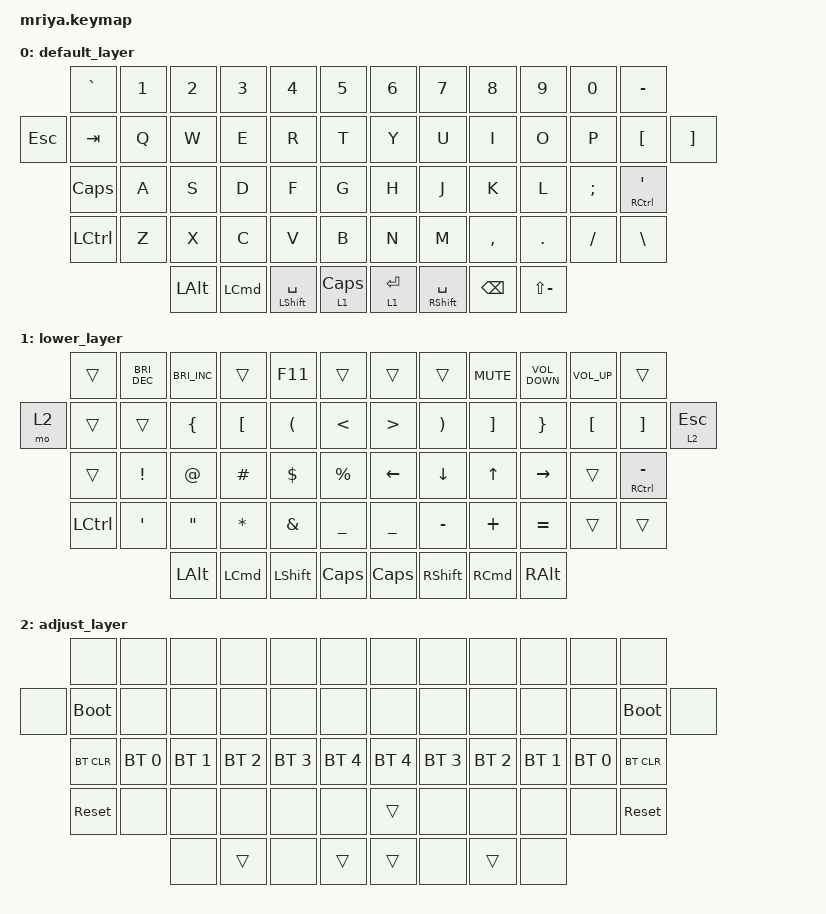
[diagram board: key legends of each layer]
/*
 * Copyright (c) 2023 Andrei Gaevskii
 *
 * SPDX-License-Identifier: MIT
 */

#include <behaviors.dtsi>
#include <dt-bindings/zmk/bt.h>
#include <dt-bindings/zmk/keys.h>

#define DEF 0
#define LWR 1
#define RSE 2
#define ADJ 3

&lt { quick_tap_ms = <200>; };

&mt { quick_tap_ms = <200>; };

/ {
    keymap {
        compatible = "zmk,keymap";

        default_layer {
            bindings = <
            &kp GRAVE         &kp N1  &kp N2        &kp N3            &kp N4           &kp N5            &kp N6       &kp N7           &kp N8         &kp N9         &kp N0    &kp MINUS
&kp ESCAPE  &kp TAB           &kp Q   &kp W         &kp E             &kp R            &kp T             &kp Y        &kp U            &kp I          &kp O          &kp P     &kp LBKT       &kp RIGHT_BRACKET
            &kp CAPSLOCK      &kp A   &kp S         &kp D             &kp F            &kp G             &kp H        &kp J            &kp K          &kp L          &kp SEMI  &mt RCTRL SQT
            &kp LEFT_CONTROL  &kp Z   &kp X         &kp C             &kp V            &kp B             &kp N        &kp M            &kp COMMA      &kp DOT        &kp FSLH  &kp BACKSLASH
                                      &kp LEFT_ALT  &kp LEFT_COMMAND  &mt LSHFT SPACE  &lt 1 CAPSLOCK    &lt 1 ENTER  &mt RSHFT SPACE  &kp BACKSPACE  &kp LS(MINUS)
            >;
        };

        lower_layer {
            bindings = <
       &trans            &kp C_BRIGHTNESS_DEC  &kp C_BRIGHTNESS_INC  &trans            &kp F11               &trans           &trans            &trans                 &kp K_MUTE         &kp C_VOLUME_DOWN  &kp C_VOLUME_UP   &trans
&mo 2  &trans            &trans                &kp LEFT_BRACE        &kp LEFT_BRACKET  &kp LEFT_PARENTHESIS  &kp LESS_THAN    &kp GREATER_THAN  &kp RIGHT_PARENTHESIS  &kp RIGHT_BRACKET  &kp RIGHT_BRACE    &kp LEFT_BRACKET  &kp RIGHT_BRACKET  &lt 2 ESCAPE
       &trans            &kp EXCL              &kp AT                &kp HASH          &kp DLLR              &kp PRCNT        &kp LEFT          &kp DOWN               &kp UP             &kp RIGHT          &trans            &mt RCTRL MINUS
       &kp LEFT_CONTROL  &kp SINGLE_QUOTE      &kp DOUBLE_QUOTES     &kp ASTRK         &kp AMPERSAND         &kp UNDER        &kp UNDER         &kp MINUS              &kp PLUS           &kp EQUAL          &trans            &trans
                                               &kp LEFT_ALT          &kp LEFT_COMMAND  &kp LEFT_SHIFT        &kp CAPSLOCK     &kp CAPSLOCK      &kp RIGHT_SHIFT        &kp RIGHT_COMMAND  &kp RIGHT_ALT
            >;
        };

        adjust_layer {
            bindings = <
       &none        &none         &none         &none         &none         &none           &none         &none         &none         &none         &none         &none
&none  &bootloader  &none         &none         &none         &none         &none           &none         &none         &none         &none         &none         &bootloader  &none
       &bt BT_CLR   &bt BT_SEL 0  &bt BT_SEL 1  &bt BT_SEL 2  &bt BT_SEL 3  &bt BT_SEL 4    &bt BT_SEL 4  &bt BT_SEL 3  &bt BT_SEL 2  &bt BT_SEL 1  &bt BT_SEL 0  &bt BT_CLR
       &sys_reset   &none         &none         &none         &none         &none           &trans        &none         &none         &none         &none         &sys_reset
                                  &none         &trans        &none         &trans          &trans        &none         &trans        &none
            >;
        };
    };
};
